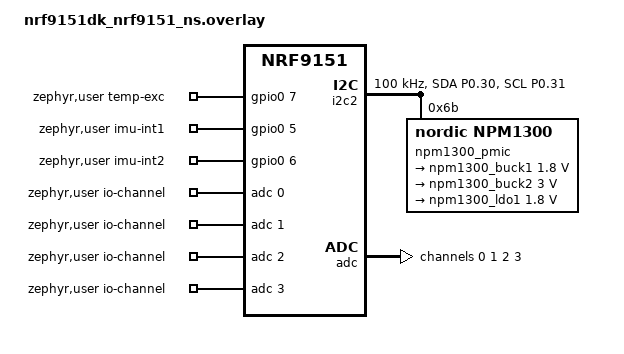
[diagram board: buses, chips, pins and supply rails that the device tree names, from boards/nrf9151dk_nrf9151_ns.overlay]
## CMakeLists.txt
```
#
# Copyright (c) 2026 Cadenced
# SPDX-License-Identifier: LicenseRef-Nordic-5-Clause
#
cmake_minimum_required(VERSION 3.20.0)

find_package(Zephyr REQUIRED HINTS $ENV{ZEPHYR_BASE})
project(versor)

target_sources(app PRIVATE
	src/main.c
	src/imu.c
	src/temp.c
	src/cell.c
	src/gnss.c
	src/mqtt.c
	src/credentials.c
	src/modemdiag.c
	src/devcfg.c
	src/pmic.c
	src/telemetry.c
	src/shipment.c
)

# FOTA (self-hosted HTTP(S) update via MCUboot dual-slot). Only compiled when
# the fota_download pipeline is enabled (CONFIG_FOTA_DOWNLOAD in prj.conf +
# SB_CONFIG_BOOTLOADER_MCUBOOT in sysbuild.conf).
target_sources_ifdef(CONFIG_FOTA_DOWNLOAD app PRIVATE src/fota.c)

# A-GNSS assistance backend (nRF Cloud REST). Only compiled when enabled.
target_sources_ifdef(CONFIG_NRF_CLOUD_AGNSS app PRIVATE src/assistance.c)

# nRF Cloud device provisioning ("check-in") client. Only when enabled.
target_sources_ifdef(CONFIG_NRF_PROVISIONING app PRIVATE src/provision.c)

# Turn the broker CA (PEM) into a byte-array include for credentials.c,
# exactly like the production firmware does. Written to the build tree.
set(gen_dir ${CMAKE_CURRENT_BINARY_DIR}/certs)
generate_inc_file_for_target(app src/credentials/ca-cert.pem ${gen_dir}/ca-cert.pem)
target_include_directories(app PRIVATE ${gen_dir})
```

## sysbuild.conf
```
# Keep the debug port (APPROTECT) openable for RTT on the CU board.
#
# On the nRF9151 (/ns build with TF-M) APPROTECT is closed by hardware at every
# reset; only the FIRST-stage secure image can reopen it. By default sysbuild
# leaves this unconfigured (APPROTECT_NO_SYSBUILD), so nothing reopens the port
# and RTT/SWD is dead after boot. Enabling *_USE_UICR makes SystemInit() in ALL
# images honour UICR.APPROTECT: when it is HwUnprotected (0x50FA50FA, which
# `nrfutil device recover` writes) debug access stays open, so we can read the
# RTT console on the CU board (its only I/O besides SWD). This does not weaken a
# production part — there the UICR is left protected and the port stays closed.
SB_CONFIG_APPROTECT_USE_UICR=y
SB_CONFIG_SECURE_APPROTECT_USE_UICR=y

# --- FOTA foundation: build the MCUboot bootloader (dual-slot) ---------------
# This is the single most important prerequisite for over-the-air updates: it
# makes sysbuild build MCUboot ahead of the app and lay the internal 1 MB flash
# out as two application slots (primary = running app, secondary = staged
# update), plus produce the signed `app_update.bin` FOTA package next to the
# app. A unit flashed WITHOUT this can never be updated OTA — it must be baked
# into the very first production flash. The nRF9151 app is small (~30 % of a
# single slot), so both slots fit in internal flash and no external flash chip
# is needed.
SB_CONFIG_BOOTLOADER_MCUBOOT=y

# NOTE (production): the build is signed with Nordic's DEFAULT, PUBLIC MCUboot
# key, which is fine for bring-up/lab but MUST be replaced before shipping —
# otherwise anyone can sign an image the bootloader will accept. For the serie,
# generate a private key and point MCUboot at it here, e.g.:
#   SB_CONFIG_BOOT_SIGNATURE_TYPE_ED25519=y
#   SB_CONFIG_BOOT_SIGNATURE_KEY_FILE="/abs/path/to/cdc-inco-mcuboot-priv.pem"
# Keep that key OUT of git (like app_credentials.h) and back it up safely: lose
# it and you can no longer sign updates these units will accept.
```

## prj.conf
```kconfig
#
# CDC-INCO-Bringup-R1A — Inbetriebnahme-/Testfirmware fuer die R1A
# (CU-Platine + Power-Platine). Liefert alle Felder aus Testplan Kap. 3,
# Modi normal/live/drain, nPM1300 (Laden, Akku, LEDs).
# Konsole + Shell laufen ueber SEGGER RTT (die CU-Platine hat kein USB/UART-RX;
# RTT geht ueber die gleichen SWD-Leitungen wie das Flashen).
#

# --- Konsole & Shell nur ueber RTT ---
CONFIG_USE_SEGGER_RTT=y
CONFIG_RTT_CONSOLE=y
CONFIG_UART_CONSOLE=n
CONFIG_SERIAL=n
CONFIG_SHELL=y
CONFIG_SHELL_BACKEND_SERIAL=n
CONFIG_SHELL_BACKEND_RTT=y

# --- Logging: dedizierter RTT-Log-Backend (NICHT ueber die Shell) ---
CONFIG_LOG=y
# Immediate (synchronous) logging: writes each line to RTT in the caller's
# context. Dedicated RTT backend (LOG_BACKEND_RTT) writes straight to RTT
# up-channel 0 — independent of the shell. Routing logs through the shell
# (SHELL_LOG_BACKEND) does NOT emit until a terminal is "connected", so the
# RTT up-buffer stayed empty (WrOff=0) when read headless over SWD; disable it.
CONFIG_LOG_MODE_IMMEDIATE=y
CONFIG_LOG_BUFFER_SIZE=4096
CONFIG_LOG_BACKEND_RTT=y
CONFIG_LOG_BACKEND_RTT_MODE_DROP=y
# Shell keeps RTT up-channel 0; put the dedicated log backend on up-channel 1
# to avoid the "conflicting log RTT backend on the same channel" build error.
CONFIG_LOG_BACKEND_RTT_BUFFER=1
CONFIG_LOG_BACKEND_RTT_BUFFER_SIZE=4096
CONFIG_SHELL_LOG_BACKEND=n
# Keep the whole diagnostic history in the RTT up-buffer so a late reader still
# sees the SIM/registration/signal lines, not just the latest heartbeat.
CONFIG_SEGGER_RTT_BUFFER_SIZE_UP=8192

# --- Peripherie ---
CONFIG_I2C=y
CONFIG_ADC=y
CONFIG_GPIO=y

# --- nPM1300 PMIC (Power board): MFD + regulators + charger sensor + LEDs ---
# The drivers are pulled in by the npm1300 node in the board overlay. Without
# the Power board they fail their init quietly and pmic.c reports "absent".
CONFIG_SENSOR=y
CONFIG_REGULATOR=y
CONFIG_LED=y
# nRF Fuel Gauge: enable once a profiled model of the PL405070 exists as
# src/battery_model.inc (nPM PowerUP). Until then pmic.c estimates soc from OCV.
# CONFIG_NRF_FUEL_GAUGE=y
# CONFIG_NRF_FUEL_GAUGE_VARIANT_SECONDARY_CELL=y

# --- Watchdog + reset cause (rst field, Testplan A-3) ---
CONFIG_WATCHDOG=y
CONFIG_HWINFO=y

# --- Modem / LTE ---
CONFIG_NRF_MODEM_LIB=y
CONFIG_LTE_LINK_CONTROL=y
# PDN submodule is required for the default-APN override below to take effect.
CONFIG_LTE_LC_PDN_MODULE=y
CONFIG_LTE_LC_PDN_DEFAULTS_OVERRIDE=y
CONFIG_LTE_LC_PDN_DEFAULT_APN="wsim"
# LTE-M + GPS: ein RF-Frontend wird zwischen LTE und GNSS geteilt.
CONFIG_LTE_NETWORK_MODE_LTE_M_GPS=y
CONFIG_MODEM_INFO=y
CONFIG_MODEM_INFO_ADD_NETWORK=y
# PSM for the "normal" mode. Only REQUESTED at runtime (main.c apply_mode) and
# only together with connect -> send -> disconnect cycles: PSM on top of an
# always-on MQTT session breaks it (see deep-sleep-vs-mqtt). live/drain turn it off.
CONFIG_LTE_LC_PSM_MODULE=y
# Bound a blocking attach attempt (default 600 s). Without coverage the modem
# keeps searching in the background and main.c retries without blocking.
CONFIG_LTE_NETWORK_TIMEOUT=180
# Capture modem faults in an application-specific handler (modemdiag.c) so the
# diagnostic can record the fault reason + PC, instead of silently auto-resetting.
CONFIG_NRF_MODEM_LIB_ON_FAULT_APPLICATION_SPECIFIC=y

# --- Sockets (offloaded aufs Modem) fuer den Erreichbarkeitstest ---
CONFIG_NETWORKING=y
CONFIG_NET_SOCKETS=y
CONFIG_NET_SOCKETS_OFFLOAD=y
CONFIG_POSIX_API=y

# --- TLS/MQTT publish ('bu pub') zum HiveMQ-Broker ---
# TLS wird aufs Modem ausgelagert (kein mbedTLS im App-Image noetig). Die CA
# liegt auf BROKER_SEC_TAG (16842), provisioniert von credentials.c beim Boot.
CONFIG_MQTT_LIB=y
CONFIG_MQTT_LIB_TLS=y
CONFIG_MODEM_KEY_MGMT=y

# --- Netzwerkzeit (fuer JWT-Signatur + "ts" im JSON) ---
# date_time holt die Zeit automatisch vom Modem, sobald LTE attached ist. Ohne
# gueltige Zeit scheitert die JWT-Erzeugung fuer den A-GNSS-REST-Call (-62), und
# eine gueltige Zeit hilft GNSS enorm beim ersten Fix (kein Uhr-Cold-Start).
CONFIG_DATE_TIME=y

# --- A-GNSS Assistenz via nRF Cloud REST (Ephemeriden-Download = schneller Fix)
# Statt die Satelliten-Bahndaten mit 50 bit/s vom Satelliten zu dekodieren
# (Cold Start = Minuten, drinnen quasi unmoeglich), holt das Board sie per
# HTTPS-REST von nRF Cloud in Sekunden. Laeuft eigenstaendig, voellig unabhaengig
# von der HiveMQ-MQTT-Verbindung, und ist BEST-EFFORT: ist das Board noch nicht
# bei nRF Cloud onboarded, scheitert nur nrf_cloud_jwt_generate() (-77) und GNSS
# laeuft weiter (Priority-Mode + Netzwerkzeit). nRF Cloud nutzt einen EIGENEN
# Sec-Tag (16842753, NICHT den HiveMQ-Tag 16842) -> die HiveMQ-CA bleibt intakt.
CONFIG_NRF_CLOUD=y
CONFIG_NRF_CLOUD_REST=y
CONFIG_NRF_CLOUD_AGNSS=y
CONFIG_MODEM_JWT=y
# nRF-Cloud-Client-ID = Modem-UUID (nicht IMEI); so registriert der spaetere
# Provisioning-/Claim-Weg dasselbe Geraet, das der A-GNSS-Call anspricht.
CONFIG_NRF_CLOUD_CLIENT_ID_SRC_INTERNAL_UUID=y
# Attestation-Token beim Boot ausgeben (read-only, kein Key-Write): damit laesst
# sich das Board auf nrfcloud.com claimen -> danach liefert A-GNSS echte Daten.
CONFIG_MODEM_ATTEST_TOKEN=y
# nRF Cloud (cJSON) + REST-Puffer brauchen mehr Heap als der bisherige Default.
CONFIG_HEAP_MEM_POOL_SIZE=8192

# --- nRF Cloud Device Provisioning (On-Device "Check-in") ---
# Der On-Device-Client meldet sich beim nRF-Cloud-Provisioning-Service. Sobald
# das Board dort geclaimed ist (Attestation-Token aus dem Boot-Log), erzeugt +
# installiert der Service die nRF-Cloud-Credentials am Sec-Tag 16842753 -> die
# JWT-Erzeugung klappt und A-GNSS liefert echte Ephemeriden (kein -8/-77 mehr).
# Vor dem Schreiben der Credentials nimmt der Client LTE per Callback offline
# (sichere Reihenfolge -> kein Modem-Brick), danach Reboot. Wir starten den
# Client NICHT automatisch beim Init, sondern erst per Trigger, nachdem die
# MQTT-Session steht und die HiveMQ-CA offline geschrieben ist (kein Kollidieren
# der Key-Writes) — siehe provision.c / bringup_onboard_begin().
CONFIG_NRF_PROVISIONING=y
CONFIG_NRF_PROVISIONING_HTTP=y
CONFIG_NRF_PROVISIONING_AUTO_START_ON_INIT=n
CONFIG_NRF_PROVISIONING_WITH_CERT=y
CONFIG_NRF_PROVISIONING_ROOT_CA_SEC_TAG=50
CONFIG_NRF_PROVISIONING_PROVIDE_ATTESTATION_TOKEN=y
CONFIG_NRF_PROVISIONING_CODEC=y
CONFIG_NRF_PROVISIONING_CBOR=y
CONFIG_ZCBOR=y
CONFIG_ZCBOR_CANONICAL=y
CONFIG_NRF_PROVISIONING_CBOR_RECORDS=10
CONFIG_NRF_PROVISIONING_RX_BUF_SZ=2304
CONFIG_NRF_PROVISIONING_TX_BUF_SZ=2304
CONFIG_NRF_PROVISIONING_CODEC_AT_CMD_LEN=2048

# --- Settings/NVS (vom Provisioning-Client vorausgesetzt) ---
CONFIG_SETTINGS=y
CONFIG_NVS=y
CONFIG_FLASH=y
CONFIG_FLASH_MAP=y
CONFIG_FLASH_PAGE_LAYOUT=y
CONFIG_MPU_ALLOW_FLASH_WRITE=y

# --- Float-Ausgabe (g-Werte, °C, lat/lon) ---
CONFIG_PICOLIBC=y
CONFIG_PICOLIBC_IO_FLOAT=y
CONFIG_CBPRINTF_FP_SUPPORT=y

# --- FOTA: self-hosted HTTP(S) update over MCUboot dual-slot -----------------
# MCUboot itself is built by sysbuild (SB_CONFIG_BOOTLOADER_MCUBOOT=y in
# sysbuild.conf); these app-side options pull in the download + apply pipeline:
#   fota_download  -> streams app_update.bin over LTE-M into the secondary slot
#   dfu_target(_mcuboot) + img_manager -> write the slot, tag it valid, and let
#   the app confirm the running image (boot_write_img_confirmed) so a healthy
#   swap becomes permanent and a bad one rolls back automatically.
# HTTPS reuses the ISRG Root X1 CA already on BROKER_SEC_TAG (16842) — the NAS
# host uses the same Let's Encrypt chain, so no extra credential write is needed.
# The download is triggered either by `bu fota <url>` (RTT shell) or by an MQTT
# command over the existing HiveMQ link (see mqtt.c handle_command()).
CONFIG_BOOTLOADER_MCUBOOT=y
CONFIG_FOTA_DOWNLOAD=y
CONFIG_DFU_TARGET=y
CONFIG_DFU_TARGET_MCUBOOT=y
CONFIG_DOWNLOADER=y
CONFIG_IMG_MANAGER=y
CONFIG_IMG_ERASE_PROGRESSIVELY=y
CONFIG_MCUBOOT_IMG_MANAGER=y
CONFIG_STREAM_FLASH=y
# Emit a progress event per received fragment so the RTT log shows % during a
# download (helpful while validating on the bench; harmless in the field).
CONFIG_FOTA_DOWNLOAD_PROGRESS_EVT=y

# --- System ---
CONFIG_ASSERT=y
CONFIG_REBOOT=y
# main() builds float-heavy JSON (lat/lon/temps) and drives the modem session.
CONFIG_MAIN_STACK_SIZE=8192
CONFIG_SHELL_STACK_SIZE=4096
```

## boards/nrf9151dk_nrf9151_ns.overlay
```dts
/*
 * CDC-INCO-Prototyp-R1A (CU board) pin map, applied on top of the nRF9151-DK
 * build. We build for the DK target because the SiP (flash/RAM/partitions) is
 * identical; this overlay re-describes the peripherals to match the CU board so
 * the DK on-board J-Link can flash the external CU board via DEBUG OUT -> J600.
 *
 * Pin map is taken from the FINAL ordered schematic (shematic-R1A-ordered.pdf,
 * Controller/Sensors sheets) and the ODB++ netlist (Testplan v2.0).
 *
 *   I2C (TWIM2)  SDA = P0.30, SCL = P0.31   (nPM1300 @0x6B + BMI323 @0x68)
 *   IMU BMI323   INT1 = P0.05, INT2 = P0.06
 *   Pt1000 temps excitation drive = P0.07 (V_TEMP rail high = 1.8 V)
 *                V_TEMP sense = AIN3/P0.16, T1..T3 = AIN0..AIN2 / P0.13..P0.15
 */

#include <zephyr/dt-bindings/adc/adc.h>
#include <zephyr/dt-bindings/adc/nrf-saadc.h>
#include <zephyr/dt-bindings/gpio/gpio.h>
#include <zephyr/dt-bindings/i2c/i2c.h>
#include <dt-bindings/regulator/npm13xx.h>

/ {
	/* Handles the bring-up firmware pulls out of the devicetree. */
	zephyr,user {
		/* 4 SAADC channels: idx0=T1, idx1=T2, idx2=T3, idx3=V_TEMP top */
		io-channels = <&adc 0>, <&adc 1>, <&adc 2>, <&adc 3>;
		/* GPIO that drives the top of the Pt1000 dividers high during a read */
		temp-exc-gpios = <&gpio0 7 GPIO_ACTIVE_HIGH>;
		/* BMI323 interrupt lines (input, pulled low so an idle line reads 0) */
		imu-int1-gpios = <&gpio0 5 (GPIO_ACTIVE_HIGH | GPIO_PULL_DOWN)>;
		imu-int2-gpios = <&gpio0 6 (GPIO_ACTIVE_HIGH | GPIO_PULL_DOWN)>;
	};
};

&pinctrl {
	i2c2_default_alt: i2c2_default_alt {
		group1 {
			psels = <NRF_PSEL(TWIM_SDA, 0, 30)>,
				<NRF_PSEL(TWIM_SCL, 0, 31)>;
		};
	};

	i2c2_sleep_alt: i2c2_sleep_alt {
		group1 {
			psels = <NRF_PSEL(TWIM_SDA, 0, 30)>,
				<NRF_PSEL(TWIM_SCL, 0, 31)>;
			low-power-enable;
		};
	};
};

/* Re-point TWIM2 to the CU-board I2C pins. */
&i2c2 {
	status = "okay";
	compatible = "nordic,nrf-twim";
	pinctrl-0 = <&i2c2_default_alt>;
	pinctrl-1 = <&i2c2_sleep_alt>;
	pinctrl-names = "default", "sleep";
	/* 100 kHz for bring-up robustness; bump to _FAST (400k) once verified. */
	clock-frequency = <I2C_BITRATE_STANDARD>;
	zephyr,concat-buf-size = <256>;

	/* nPM1300 on the Power board (U500), same bus as the BMI323. Wiring from
	 * shematic-R1A-ordered.pdf, Power sheet:
	 *   BUCK1 = VDD_1V8 (VSET1 47k -> 1.8 V, set by resistor, "always 1V8")
	 *   BUCK2 = VDD_3V0 (VSET2 150k -> 3.0 V, set by resistor)
	 *   LDO1  = VDD_GNSS: LSIN1 <- VDD_3V0, VOUTLDO1 -> R507 0R -> VDD_GNSS
	 *           (R506/R508 not fitted) -> must be switched on as a 1.8 V LDO
	 *   LDO2  = unused (LSIN2/VOUTLDO2 tied to GND) -> never touch
	 *   LED0 = LED501 red, LED1 = LED500 green, LED2 = D500 blue (all to VSYS,
	 *          5 mA internal sink)
	 *   NTC  = battery connector P500 pin 2 (P500: 1 = +, 2 = NTC, 3 = -)
	 *   GPIO0-4 -> nRF P0.00-P0.04 (not used yet), SHPHLD unconnected
	 * If the Power board is not attached the MFD init fails and all children
	 * stay "not ready" — the firmware checks device_is_ready() and runs on.
	 */
	npm1300_pmic: pmic@6b {
		compatible = "nordic,npm1300";
		reg = <0x6b>;

		npm1300_regulators: regulators {
			compatible = "nordic,npm1300-regulator";

			/* BUCK1/BUCK2 voltages come from the VSET resistors. Deliberately
			 * NO regulator-init-microvolt here: software must never be able
			 * to move VDD_1V8 (VDD_GPIO, sensors, SWD VTref) or VDD_3V0.
			 */
			npm1300_buck1: BUCK1 {
				regulator-min-microvolt = <1800000>;
				regulator-max-microvolt = <1800000>;
				regulator-always-on;
			};

			npm1300_buck2: BUCK2 {
				regulator-min-microvolt = <3000000>;
				regulator-max-microvolt = <3000000>;
				regulator-always-on;
			};

			/* VDD_GNSS (external LNA SKY65943) = 1.8 V LDO from VDD_3V0. */
			npm1300_ldo1: LDO1 {
				regulator-min-microvolt = <1800000>;
				regulator-max-microvolt = <1800000>;
				regulator-init-microvolt = <1800000>;
				regulator-initial-mode = <NPM13XX_LDSW_MODE_LDO>;
				regulator-boot-on;
			};
		};

		/* Battery: XINJ PL405070, 3.7 V 3000 mAh LiPo, 3-wire with NTC.
		 * Datasheet (eBay listing): standard charge 0.5 C CC to 4.2 V, CV until
		 * 0.05 C; built-in protection PCB. The nPM1300 caps charge current at
		 * 800 mA (~0.27 C), well inside the cell rating.
		 *
		 * Charge temperature window (JOB 2026-09-29), enforced in HARDWARE by the
		 * nPM1300 JEITA logic via the battery NTC:
		 *   < 0 C        cold  -> no charging
		 *   0 .. 10 C    cool  -> charge current halved by hardware (400 mA)
		 *   10 .. 35 C   normal-> full 800 mA
		 *   35 .. 45 C   warm  -> termination 4.10 V (hardware); the firmware
		 *                         additionally halves the current (pmic.c)
		 *   > 45 C       hot   -> no charging
		 *
		 * NTC type is NOT given by the seller. 10 k / B 3435 is the usual part in
		 * these cells — CHECK with a multimeter between the white wire and minus:
		 * ~10 kOhm at 25 C. If it reads ~47 k or ~100 k, change thermistor-ohms.
		 */
		npm1300_charger: charger {
			compatible = "nordic,npm1300-charger";
			term-microvolt = <4200000>;
			term-warm-microvolt = <4100000>;
			current-microamp = <800000>;
			dischg-limit-microamp = <1000000>;
			/* BQ51013B Qi receiver delivers ~5 V / 1 A into VBUS. */
			vbus-limit-microamp = <1000000>;
			thermistor-ohms = <10000>;
			thermistor-beta = <3435>;
			thermistor-cold-millidegrees = <0>;
			thermistor-cool-millidegrees = <10000>;
			thermistor-warm-millidegrees = <35000>;
			thermistor-hot-millidegrees = <45000>;
			charging-enable;
		};

		/* All three LEDs under firmware control (modes, drain, charge hint). */
		npm1300_leds: leds {
			compatible = "nordic,npm1300-led";
			nordic,led0-mode = "host";
			nordic,led1-mode = "host";
			nordic,led2-mode = "host";
		};
	};
};

/* SAADC: internal 0.6 V reference, 12-bit, 40 us acquisition (500 ohm source +
 * 100 nF settle comfortably). GAIN differs by channel on purpose:
 *   - Pt1000 nodes AIN0..AIN2 sit at ~0.9-1.1 V over the whole plausible temp
 *     range, so gain 1/2 (full-scale 1.2 V) is used -> the ADC code is worth
 *     ~0.18 C instead of ~0.37 C, doubling temperature resolution. Even +180 C
 *     stays under 1.2 V, so there is no clipping headroom concern.
 *   - AIN3 senses the ~1.8 V V_TEMP excitation top, which does NOT fit in 1.2 V,
 *     so it keeps gain 1/4 (full-scale 2.4 V). The ratiometric math uses mV from
 *     each channel's own gain, so mixing gains is correct.
 */
&adc {
	status = "okay";
	#address-cells = <1>;
	#size-cells = <0>;

	channel@0 {
		reg = <0>;
		zephyr,gain = "ADC_GAIN_1_2";
		zephyr,reference = "ADC_REF_INTERNAL";
		zephyr,acquisition-time = <ADC_ACQ_TIME(ADC_ACQ_TIME_MICROSECONDS, 40)>;
		zephyr,input-positive = <NRF_SAADC_AIN0>; /* P0.13 = T1 (COW) */
		zephyr,resolution = <12>;
	};

	channel@1 {
		reg = <1>;
		zephyr,gain = "ADC_GAIN_1_2";
		zephyr,reference = "ADC_REF_INTERNAL";
		zephyr,acquisition-time = <ADC_ACQ_TIME(ADC_ACQ_TIME_MICROSECONDS, 40)>;
		zephyr,input-positive = <NRF_SAADC_AIN1>; /* P0.14 = T2 (AMBIENT) */
		zephyr,resolution = <12>;
	};

	channel@2 {
		reg = <2>;
		zephyr,gain = "ADC_GAIN_1_2";
		zephyr,reference = "ADC_REF_INTERNAL";
		zephyr,acquisition-time = <ADC_ACQ_TIME(ADC_ACQ_TIME_MICROSECONDS, 40)>;
		zephyr,input-positive = <NRF_SAADC_AIN2>; /* P0.15 = T3 (AMBIENT_SUN) */
		zephyr,resolution = <12>;
	};

	channel@3 {
		reg = <3>;
		zephyr,gain = "ADC_GAIN_1_4";
		zephyr,reference = "ADC_REF_INTERNAL";
		zephyr,acquisition-time = <ADC_ACQ_TIME(ADC_ACQ_TIME_MICROSECONDS, 40)>;
		zephyr,input-positive = <NRF_SAADC_AIN3>; /* P0.16 = V_TEMP excitation sense */
		zephyr,resolution = <12>;
	};
};
```

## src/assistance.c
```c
/*
 * Copyright (c) 2021 Nordic Semiconductor ASA
 * Copyright (c) 2024 Cadenced
 * SPDX-License-Identifier: LicenseRef-Nordic-5-Clause
 *
 * nRF Cloud A-GNSS assistance over REST. Adapted from the NCS GNSS sample and
 * the production firmware (CDC-INCO-Thingy9151-R1A). One-shot HTTPS request to
 * nRF Cloud, authenticated with a device JWT; the received A-GNSS data
 * (ephemerides, time, coarse position) is injected into the modem so the GNSS
 * core gets a fix in seconds instead of minutes. Independent of the app's own
 * HiveMQ MQTT connection.
 */
#include <stdlib.h>
#include <zephyr/kernel.h>
#include <zephyr/logging/log.h>
#include <modem/lte_lc.h>
#include <modem/modem_info.h>
#include <modem/modem_jwt.h>
#include <net/nrf_cloud_rest.h>
#include <net/nrf_cloud_agnss.h>

#include "assistance.h"

LOG_MODULE_DECLARE(gnss, LOG_LEVEL_INF);

static char jwt_buf[600];
static char rx_buf[2048];
static char agnss_data_buf[NRF_CLOUD_AGNSS_MAX_DATA_SIZE];

static int serving_cell_info_get(struct lte_lc_cell *serving_cell)
{
	int err;
	char resp_buf[MODEM_INFO_MAX_RESPONSE_SIZE];

	err = modem_info_init();
	if (err) {
		return err;
	}

	err = modem_info_string_get(MODEM_INFO_CELLID, resp_buf, sizeof(resp_buf));
	if (err < 0) {
		return err;
	}
	serving_cell->id = strtol(resp_buf, NULL, 16);

	err = modem_info_string_get(MODEM_INFO_AREA_CODE, resp_buf, sizeof(resp_buf));
	if (err < 0) {
		return err;
	}
	serving_cell->tac = strtol(resp_buf, NULL, 16);

	err = modem_info_string_get(MODEM_INFO_OPERATOR, resp_buf, sizeof(resp_buf));
	if (err < 0) {
		return err;
	}
	serving_cell->mnc = strtol(&resp_buf[3], NULL, 10);
	resp_buf[3] = '\0';
	serving_cell->mcc = strtol(resp_buf, NULL, 10);

	return 0;
}

int assistance_init(struct k_work_q *assistance_work_q)
{
	ARG_UNUSED(assistance_work_q);
	/* A-GNSS over REST needs no persistent state. */
	return 0;
}

int assistance_request(struct nrf_modem_gnss_agnss_data_frame *agnss_request)
{
	int err;

	err = nrf_cloud_jwt_generate(0, jwt_buf, sizeof(jwt_buf));
	if (err) {
		LOG_ERR("JWT generate failed: %d (device not onboarded to nRF Cloud?)",
			err);
		return err;
	}

	struct nrf_cloud_rest_context rest_ctx = {
		.connect_socket = -1,
		.keep_alive = false,
		/* MUST be bounded: A-GNSS is best-effort and must never block GNSS.
		 * With NONE, a stalled TLS/connect to nRF Cloud hangs forever, so
		 * agnss_fetch_done never gets set and GNSS priority mode is never
		 * enabled → the receiver is starved by LTE and tracks 0 satellites
		 * (observed 2026-09-17 on the first onboarded boot). 30 s cap → the
		 * call errors out, GNSS falls back to a standalone (slower) fix.
		 */
		.timeout_ms = 30000,
		.auth = jwt_buf,
		.rx_buf = rx_buf,
		.rx_buf_len = sizeof(rx_buf),
		.fragment_size = 0,
	};

	struct nrf_cloud_rest_agnss_request request = {
		.type = NRF_CLOUD_REST_AGNSS_REQ_CUSTOM,
		.agnss_req = agnss_request,
		.net_info = NULL,
	};

	struct nrf_cloud_rest_agnss_result result = {
		.buf = agnss_data_buf,
		.buf_sz = sizeof(agnss_data_buf),
		.agnss_sz = 0,
	};

	struct lte_lc_cells_info net_info = { 0 };

	if (serving_cell_info_get(&net_info.current_cell) == 0) {
		request.net_info = &net_info;
	} else {
		LOG_WRN("No cell info — requesting A-GNSS without it");
	}

	LOG_INF("Requesting A-GNSS data (flags 0x%02x)", agnss_request->data_flags);

	err = nrf_cloud_rest_agnss_data_get(&rest_ctx, &request, &result);
	if (err) {
		LOG_ERR("nrf_cloud_rest_agnss_data_get failed: %d", err);
		return err;
	}

	LOG_INF("Processing %d bytes of A-GNSS data", result.agnss_sz);

	err = nrf_cloud_agnss_process(result.buf, result.agnss_sz);
	if (err) {
		LOG_ERR("nrf_cloud_agnss_process failed: %d", err);
		return err;
	}

	LOG_INF("A-GNSS data processed and injected");
	return 0;
}
```

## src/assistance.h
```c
/*
 * Copyright (c) 2024 Cadenced
 * SPDX-License-Identifier: LicenseRef-Nordic-5-Clause
 */
#ifndef CDC_INCO_ASSISTANCE_H_
#define CDC_INCO_ASSISTANCE_H_

#include <nrf_modem_gnss.h>

/* Initialise the assistance backend. Call once before assistance_request(). */
int assistance_init(struct k_work_q *assistance_work_q);

/* Fetch A-GNSS assistance for the satellites the modem asked for and inject it
 * into the GNSS core. Runs a one-shot HTTPS REST request to nRF Cloud,
 * authenticated with the device JWT. Requires an active LTE connection + valid
 * network time. Returns 0 on success.
 */
int assistance_request(struct nrf_modem_gnss_agnss_data_frame *agnss_request);

#endif /* CDC_INCO_ASSISTANCE_H_ */
```

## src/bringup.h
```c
/*
 * Copyright (c) 2026 Cadenced
 * SPDX-License-Identifier: LicenseRef-Nordic-5-Clause
 *
 * Shared entry points for the CU-board bring-up tests. Each test is a plain,
 * blocking function that prints its result via the log/shell and returns 0 on
 * pass, negative on fail, so it can be driven both by the boot-time POST and by
 * an interactive "bu <test>" shell command.
 */
#ifndef CDC_INCO_BRINGUP_H_
#define CDC_INCO_BRINGUP_H_

#include "shipment.h"
#include <stdbool.h>
#include <stddef.h>
#include <stdint.h>
#include <zephyr/sys/util.h>

/* HiveMQ broker TLS security tag (CA provisioned by credentials.c).
 * Matches the DK / production firmware (CONFIG_MQTT_HELPER_SEC_TAG).
 */
#define BROKER_SEC_TAG 16842

/* Application firmware version, reported in the telemetry JSON as "fw" so the
 * dashboard can show which unit runs which build and confirm a FOTA rollout.
 * BUMP THIS every time you build an image you intend to roll out.
 */
#define APP_FW_VERSION "0.1.0"

/* TLS security tag used for the FOTA HTTPS download. By default it reuses the
 * broker's CA (BROKER_SEC_TAG = ISRG Root X1 / Let's Encrypt), which is correct
 * when the firmware file is served from a host with a Let's Encrypt certificate
 * (e.g. Synology Web Station, or Hetzner with certbot).
 *
 * If the FOTA host presents a DIFFERENT chain — most notably a Cloudflare-fronted
 * URL through the cloudflared tunnel, where Cloudflare's edge terminates TLS —
 * point this at a dedicated tag and provision that host's root CA there:
 *   1) find the root:  openssl s_client -connect fw.cadenced.at:443 -showcerts
 *   2) put its PEM in  src/credentials/fota-ca.pem  and enable the block in
 *      credentials.c (FOTA_DEDICATED_CA) so it is written to FOTA_SEC_TAG offline
 *   3) set this to that tag, e.g. 16843.
 * Keeping it separate from BROKER_SEC_TAG means swapping the FOTA host's CA never
 * touches the working HiveMQ CA.
 */
#ifndef FOTA_SEC_TAG
#define FOTA_SEC_TAG BROKER_SEC_TAG
#endif

/* ---- I2C bus / BMI323 IMU (P0.30 SDA, P0.31 SCL, addr 0x68) ------------- */
int bringup_i2c_scan(void);       /* scan the bus, list responders          */
int bringup_imu_id(void);         /* probe BMI323 CHIP_ID (expect 0x43)      */
int bringup_imu_init(void);       /* soft-reset + normal mode, +/-4 g, 100 Hz*/
int bringup_imu_read(void);       /* one accel sample -> g on x/y/z          */
int bringup_imu_int_test(void);   /* DRDY on INT1 (P0.05): count edges/1 s   */
/* One quiet accel sample in g (no logging), for the telemetry averaging loop.
 * Any out pointer may be NULL. Returns 0 on success, negative on I2C error.
 */
int bringup_imu_read_accel(float *gx, float *gy, float *gz);
/* 100 Hz, +/-16 g accel FIFO for the shipment events (shipment.c). */
int  bringup_imu_fifo_start(void);
bool bringup_imu_fifo_on(void);
int  bringup_imu_fifo_read(float *xyz, int max_frames); /* frames (x,y,z g) or <0 */

/* ---- 3x Pt1000 temperature via SAADC (drive P0.07, read AIN0..3) -------- */
int bringup_temp_read(void);      /* one ratiometric read of T1/T2/T3        */
/* High-resolution ratiometric read of temp_in only (IC201 = T2 = AIN1), vs the
 * V_TEMP excitation sense (AIN3). 256x SAADC oversampling + offset calibration,
 * excitation pulsed just for the read. Returns true and *temp_c on success,
 * false if the excitation/divider is out of range (e.g. Pt1000 not fitted).
 */
bool bringup_temp_in_read(double *temp_c);

/* Pt1000 channel indices (schematic net names, Sensors sheet). */
enum pt_chan {
	PT_SKIN = 0, /* IC200 / T1 / AIN0 — COW (skin side)      */
	PT_AMB  = 1, /* IC201 / T2 / AIN1 — AMBIENT (shade)      */
	PT_SUN  = 2, /* IC202 / T3 / AIN2 — AMBIENT_SUN (plate)  */
	PT_COUNT = 3,
};
/* Versor: product temperature = T1/AIN0 (metal-coupled side, faces the goods). */
#define PT_PROD PT_SKIN
/* High-res ratiometric read of all three Pt1000 under ONE excitation pulse
 * (same method as bringup_temp_in_read). valid[i] is false for an open /
 * unfitted / out-of-band channel; temp_c[i] is then untouched.
 */
void bringup_temp_read_all(double temp_c[PT_COUNT], bool valid[PT_COUNT]);

/* ---- Cellular: LTE attach + modem info + broker reachability ------------ */
int bringup_modem_init(void);     /* init nrf_modem_lib + modem_info (once)  */
extern int bringup_modem_init_raw; /* raw nrf_modem_lib_init() return code   */
int bringup_cell_info(void);      /* IMEI, modem temp/voltage (no LTE needed)*/
int bringup_cell_attach(void);    /* attach LTE-M, print operator + RSRP     */
int bringup_cell_reach(void);     /* DNS + TCP-connect to the HiveMQ broker  */
int bringup_cell_lte_off(void);   /* CFUN=20: LTE off, GNSS keeps the antenna */

/* Serving-cell snapshot for the telemetry (AT%XMONITOR + AT+CESQ). */
struct cell_status {
	bool valid;       /* registered and the values below are filled */
	int16_t rsrp;     /* dBm                                        */
	float rsrq;       /* dB  (NAN if unknown)                       */
	float snr;        /* dB  (NAN if unknown)                       */
	uint32_t cell_id; /* E-UTRAN cell id                            */
	uint32_t tac;     /* tracking area code                         */
	uint16_t band;
	char plmn[8];     /* MCC+MNC                                    */
};
/* Read the serving-cell values now. Works in RRC-connected and idle; in PSM the
 * modem returns the last values it measured. Returns 0 if registered.
 */
int bringup_cell_monitor(struct cell_status *cs);
/* Request (enable=true) or cancel LTE Power Saving Mode. rptau_s = requested
 * periodic TAU, rat_s = requested active time. Only re-sent when changed.
 */
int bringup_cell_psm(bool enable, int rptau_s, int rat_s);
/* True if registered (home or roaming) — also true while in PSM. */
bool bringup_cell_registered(void);
/* After a failed attach: leave the radio on so the modem searches on its own. */
void bringup_cell_keep_searching(void);
/* IMEI as a string ("" if the modem could not be read). */
const char *bringup_cell_imei(void);

/* ---- Onboarding: nRF Cloud attestation token (read-only, no key write) --- */
void bringup_print_attest_token(void); /* log ATTESTTOKEN to claim on nrfcloud.com */

/* ---- Onboarding: nRF Cloud device provisioning ("check-in") ------------- */
/* Trigger a one-shot provisioning check with nRF Cloud. Call ONCE the MQTT
 * session is up (so the HiveMQ CA write is done and datetime is valid). If the
 * board is claimed, the service installs nRF Cloud credentials (sec tag
 * 16842753) — the client takes LTE offline for the write, then reboots. If not
 * claimed, it logs the attestation token again. Requires nrf_provisioning built.
 */
void bringup_onboard_begin(void);
/* True while provisioning holds the modem offline for a credential write, so
 * the telemetry loop backs off instead of fighting it for LTE.
 */
bool bringup_onboard_active(void);

/* ---- TLS/MQTT publish (full data path to the NAS/website) --------------- */
int bringup_credentials_provision(void); /* raw CA write to BROKER_SEC_TAG (assumes offline modem) */
int bringup_provision_ca(void);   /* init + offline + write CA (safe, once)  */
int bringup_mqtt_pub(const char *payload); /* one-shot: provision+connect+publish+close; NULL=default JSON */

/* ---- Persistent MQTT session (DK-style: connect once, publish periodically) */
int  bringup_mqtt_session_start(void);            /* provision CA + attach + TLS connect + CONNACK */
int  bringup_mqtt_session_publish(const char *payload); /* publish one QoS1 payload, pump for PUBACK */
int  bringup_mqtt_session_publish_raw(const char *payload); /* same on versor/evt/<id> */
int  bringup_mqtt_session_poll(int timeout_ms);   /* pump input/keepalive while idle */
void bringup_mqtt_session_stop(void);             /* graceful MQTT disconnect         */

/* True while the session is connected. */
bool bringup_mqtt_session_is_up(void);

/* ---- Cellular-only diagnostic (SIM/reg/signal), stays awake for RTT ------ */
void bringup_modem_diag(void);    /* one-shot cell diag, then busy-hold       */

/* ---- GNSS --------------------------------------------------------------- */
int bringup_gnss_start(void);     /* enable GNSS + start acquisition         */
int bringup_gnss_stop(void);
int bringup_gnss_status(void);    /* print sat count / last fix              */

/* Release the GNSS acquisition thread. Called once the first ("online") MQTT
 * message is out, so GNSS gets priority AFTER LTE has done its initial work
 * (matches the DK order: 1) first message, 2) GPS with priority).
 */
void bringup_gnss_begin(void);

/* True once the one-shot A-GNSS assistance fetch has finished (success or error).
 * main() waits on this (bounded) before it takes LTE offline for the exclusive
 * GPS window, so the ephemeris download — which needs LTE — runs first.
 */
bool bringup_gnss_agnss_done(void);

/* Snapshot the latest GNSS state for the telemetry JSON (thread-safe). Any
 * out pointer may be NULL. Returns true if a valid fix has been seen.
 */
bool bringup_gnss_get(double *lat, double *lon, int *sats, bool *fix_valid,
		      float *accuracy, float *speed_kmh);

/* Extra GNSS quality values for the test protocol. cn0 = mean C/N0 of the 4
 * strongest satellites of the latest PVT that tracked >= 4 (dB-Hz, NAN if none
 * yet); ttff_s = time to fix of the latest acquisition (-1 if none yet);
 * fix_age_s = seconds since the last valid fix (-1 if never).
 */
void bringup_gnss_quality(float *cn0, int *ttff_s, int *fix_age_s);

/* Set the GNSS fix interval: 0 = GNSS off, 1 = continuous tracking, >= 10 =
 * periodic fix every N s (the receiver sleeps in between). Applied by the GNSS
 * thread; the first fix after start is always searched continuously.
 */
void bringup_gnss_set_interval(uint32_t interval_s);
/* 32-bit uptime (ms) of the GNSS thread's last loop pass, 0 before it started
 * — watchdog liveness check.
 */
uint32_t bringup_gnss_last_alive_ms(void);

/* ---- nPM1300 probe (Energy board, absent until PMIC arrives) ------------ */
int bringup_pmic_id(void);        /* probe 0x6B; used to detect PMIC present */

/* ---- FOTA (self-hosted HTTP(S) update via MCUboot dual-slot) ------------ */
/* Init the fota_download library + log the MCUboot swap/confirm state. Safe to
 * call once at boot; bringup_fota_start_url() also lazily inits.
 */
int  bringup_fota_init(void);
/* Start downloading "http(s)://host[:port]/path/app_update.bin" into the
 * secondary slot. https reuses the ISRG Root X1 CA on BROKER_SEC_TAG. Async:
 * progress/finish/error arrive as log lines + a queued status (see below).
 * Returns 0 if the download started, negative on bad URL / already running.
 */
int  bringup_fota_start_url(const char *url);
/* Mark the running image permanent (boot_write_img_confirmed) once it is proven
 * healthy, so MCUboot does not roll a freshly swapped FOTA image back. No-op if
 * already confirmed (e.g. a normal JLink flash). Call after a successful publish.
 */
int  bringup_fota_confirm(void);
/* True while a download is in flight (main() backs off / ignores re-triggers). */
bool bringup_fota_busy(void);
/* True once an image is staged and main() should publish a final line + reboot
 * so MCUboot can swap. Kept off the download thread on purpose.
 */
bool bringup_fota_reboot_requested(void);
/* Pop a queued FOTA status word (started/downloaded/error/...) for the main
 * thread to publish over MQTT. Returns true and fills out if one was queued.
 */
bool bringup_fota_dequeue_status(char *out, size_t n);

/* ---- Tiny flat-JSON helpers (no nesting / escapes; enough for commands) -- */
bool json_get_str(const char *json, const char *key, char *out, size_t n);
bool json_get_int(const char *json, const char *key, int32_t *out);

/* ---- Persistent device config + operating modes (devcfg.c) -------------- */
/*
 *  normal : energy saving. Every interval_s: connect, send, check for
 *           commands (~4 s), disconnect, LTE PSM until the next cycle.
 *           Commands therefore arrive with at most interval_s delay.
 *  live   : always-on MQTT (commands instantly), for bench tests (A-5, C-1).
 *  drain  : burn the battery as fast as possible (D-4): always-on MQTT,
 *           short interval, GNSS continuous, all 3 LEDs on. Runs until the
 *           battery is empty and stays selected across resets.
 */
enum app_mode {
	APP_MODE_NORMAL = 0,
	APP_MODE_LIVE   = 1,
	APP_MODE_DRAIN  = 2,
};

struct app_cfg {
	enum app_mode mode;
	uint32_t interval_s; /* telemetry period                          */
	uint32_t gnss_s;     /* 0 = off, 1 = continuous, >= 10 = periodic  */
	uint8_t led;         /* requested LED (normal / live): colour      *
			      * 0 off, 1 green, 2 blue, 3 red, | LED_CFG_BLINK */
};

int  devcfg_init(void);                 /* load settings, count the boot       */
void devcfg_get(struct app_cfg *out);
/* Monotonic counter, bumped on every config change (main() watches it). */
uint32_t devcfg_generation(void);
/* Apply a config JSON {"mode":"normal","int":300,"gnss":300,"led":0}. Missing
 * keys keep their value, except that a mode change resets int/gnss to that
 * mode's defaults unless they are given too. Persists. True if changed.
 */
bool devcfg_apply_json(const char *json);
int  devcfg_set_mode(enum app_mode m);
const char *devcfg_mode_name(enum app_mode m);
bool devcfg_mode_from_name(const char *name, enum app_mode *out);

/* Device ID = serial number (e.g. "P0.1.1"). Sources, first match wins:
 *   1. override in settings: `bu id P0.1.2` (RTT) / {"cmd":"id",...} (MQTT)
 *   2. factory ID in the last flash page, written by the flash station together
 *      with the firmware (see FACTORY_ID_ADDR in devcfg.c)
 *   3. "IMEI<imei>" — only on lab boards flashed without the Cockpit; such IDs
 *      are never assigned to a customer.
 */
const char *devcfg_device_id(void);
int  devcfg_set_device_id(const char *id);
/* Publish ID + IMEI + FW in a RAM block the flash station reads over SWD
 * (halted core) right after flashing. Call once the modem is initialised.
 */
void devcfg_factory_info_update(void);

uint32_t devcfg_next_seq(void);         /* telemetry sequence, survives resets */
uint32_t devcfg_boot_count(void);
uint32_t devcfg_reset_cause(void);      /* hwinfo RESET_* bits of this boot    */
const char *devcfg_reset_name(void);    /* short name: por/pin/sw/wdt/bor/...  */

/* ---- nPM1300 PMIC: charger, fuel gauge, LEDs (pmic.c) ------------------- */
#define LED_RED   BIT(0) /* nPM LED0 -> LED501 */
#define LED_GREEN BIT(1) /* nPM LED1 -> LED500 */
#define LED_BLUE  BIT(2) /* nPM LED2 -> D500   */

/* app_cfg.led / cfg JSON "led": colour the backend asked for (1 = green is
 * also the old "on", so older backends keep working).
 */
#define LED_CFG_OFF   0
#define LED_CFG_GREEN 1
#define LED_CFG_BLUE  2
#define LED_CFG_RED   3
#define LED_CFG_COLOUR(v) ((v) & 0x03)
#define LED_CFG_BLINK 0x04   /* flag: the device blinks the colour itself */
#define LED_CFG_MAX   (LED_CFG_RED | LED_CFG_BLINK)
/* Telemetry "led": LED_RED|LED_GREEN|LED_BLUE as lit + this bit while blinking */
#define LED_TEL_BLINK BIT(3)

struct pmic_status {
	bool present;      /* PMIC answered; all values below valid          */
	float vbat;        /* V                                              */
	float ibat_ma;     /* mA, + = charging, - = discharging              */
	float t_bat;       /* C, battery NTC                                 */
	float t_die;       /* C, nPM1300 die temperature                     */
	float soc;         /* %, 0..100                                      */
	int chg;           /* 0 = not charging, 1 = charging, 2 = full        */
	uint8_t chg_raw;   /* BCHGCHARGESTATUS                               */
	uint8_t chg_err;   /* BCHGERRREASON                                  */
	bool vbus;         /* Qi / USB supply present                        */
	bool reduced;      /* firmware reduced the charge current (warm)     */
};

int  pmic_init(void);                   /* 0 if the PMIC is present            */
bool pmic_present(void);
/* Measure, run the charge-temperature supervision and the SoC estimate. Call
 * regularly (every few seconds); cheap. s may be NULL.
 */
int  pmic_update(struct pmic_status *s);
void pmic_get(struct pmic_status *s);   /* last values, no I2C traffic         */
void pmic_leds(uint8_t mask);           /* LED_RED | LED_GREEN | LED_BLUE      */
uint8_t pmic_leds_get(void);
int  pmic_ship_mode(void);              /* power off; only Qi/VBUS wakes it    */

/* ---- Telemetry records + RAM backlog (telemetry.c) ---------------------- */
struct tel_rec {
	int64_t ts_ms;        /* unix ms, 0 = network time not known yet  */
	uint32_t seq;
	uint32_t uptime_s;
	uint8_t mode;
	uint32_t interval_s;
	/* GNSS */
	double lat, lon;
	int16_t sats;
	bool fix;
	float hacc, speed, cn0;
	int32_t ttff_s, fix_age_s;
	/* IMU, mean over the window, m/s^2; act = mean |a - mean| (activity) */
	float acc_x, acc_y, acc_z, act;
	/* Versor shipment window (shipment.c); shp.valid false -> not sent */
	struct shp_win shp;
	bool trip, trip_ok;   /* trip running / no violation so far        */
	uint32_t trip_s;      /* trip duration s                           */
	/* temperatures, C (NAN = invalid): t_in = product (PT_PROD), t_amb =
	 * T2, t_aux = T3; window min/max of t_in are in shp.t_min/t_max.
	 */
	float t_in, t_amb, t_aux, t_bat, t_pmic;
	/* power */
	struct pmic_status pm;
	/* cellular */
	struct cell_status cell;
	uint8_t leds;
};

/* Push a finished record into the backlog (oldest dropped when full). */
void telemetry_push(const struct tel_rec *r);
/* Number of records waiting to be sent. */
int  telemetry_pending(void);
/* Peek at the oldest / newest pending record (NULL if empty). */
struct tel_rec *telemetry_oldest(void);
struct tel_rec *telemetry_newest(void);
void telemetry_drop_oldest(void);
/* Render a record as the telemetry JSON. Returns length or negative. */
int  telemetry_format(const struct tel_rec *r, char *buf, size_t n);
/* JSON of the newest record (or a minimal one) for `bu pub` / NULL publish. */
int  telemetry_format_latest(char *buf, size_t n);

/* Versor glue (main.c, thread-safe): shipment thresholds from a cfg/cmd JSON
 * (true if changed) and trip control 0 = stop, 1 = start, 2 = report.
 */
bool app_shipment_cfg(const char *json);
void app_trip_cmd(int op);

/* Main-thread reboot request (MQTT "reboot"/"id" commands). */
void app_request_reboot(void);
/* Feed the watchdog from long but bounded waits (MQTT socket pump). Skipped if
 * a monitored thread has stalled, so a hang still ends in a watchdog reset.
 */
void app_watchdog_kick(void);

#endif /* CDC_INCO_BRINGUP_H_ */
```

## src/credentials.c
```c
/*
 * Copyright (c) 2026 Cadenced
 * SPDX-License-Identifier: LicenseRef-Nordic-5-Clause
 *
 * Provision the broker's CA certificate to the modem so `bu pub` can bring up a
 * TLS/MQTT session. Called once from the attach path (cell.c) after the modem
 * is fully initialised AND put into offline mode (CFUN=4) — writing keys during
 * the nrf_modem_lib init hook proved too early here (the AT interface was not
 * ready yet: "CMEE status err -77" -> "Phone failure" -> modem crash). The CA
 * is the same ISRG Root X1 used by the production firmware; it is embedded from
 * src/credentials/ca-cert.pem via generate_inc_file_for_target() (see
 * CMakeLists.txt). Only the CA is provisioned — HiveMQ uses username/password,
 * not client certificates.
 */
#include <modem/modem_key_mgmt.h>
#include <zephyr/logging/log.h>

#include "bringup.h"

LOG_MODULE_REGISTER(credentials, LOG_LEVEL_INF);

static const unsigned char ca_certificate[] = {
#include "ca-cert.pem"
};

int bringup_credentials_provision(void)
{
	int err;

	if (sizeof(ca_certificate) <= 1) {
		LOG_ERR("CA certificate empty — src/credentials/ca-cert.pem missing?");
		return -ENOENT;
	}

	/* Write unconditionally (idempotent overwrite), exactly like the
	 * production firmware. Must run while the modem is offline — this is
	 * called from the NRF_MODEM_LIB_ON_INIT hook, before any LTE attach.
	 */
	err = modem_key_mgmt_write(BROKER_SEC_TAG,
				   MODEM_KEY_MGMT_CRED_TYPE_CA_CHAIN,
				   ca_certificate, sizeof(ca_certificate) - 1);
	if (err) {
		LOG_ERR("modem_key_mgmt_write(CA) failed: %d", err);
		return err;
	}

	LOG_INF("CA certificate provisioned to sec tag %d", BROKER_SEC_TAG);
	return 0;
}
```

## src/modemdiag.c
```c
/*
 * Copyright (c) 2026 Cadenced
 * SPDX-License-Identifier: LicenseRef-Nordic-5-Clause
 *
 * Cellular-only modem diagnostic for the CU board (no TLS, no MQTT, no keys).
 * Answers the basics in isolation — is the SIM readable, does the modem
 * register, how strong is the signal — the way the DK proved out, before TLS.
 *
 * Visibility: the CU board's only console is SEGGER RTT over SWD, but the
 * app-core debug port powers down when the CPU idles, so live RTT is
 * unreliable. Instead, every result is written into the global `g_diag`
 * struct in RAM (with a magic + a `stage` counter). A held J-Link connection
 * can mem-read that struct at any time — even mid-run — to see exactly how far
 * the modem got and the raw AT responses. The final busy-hold keeps the CPU
 * active (never k_sleep) so the debug port stays powered while reading.
 */
#include <zephyr/kernel.h>
#include <zephyr/logging/log.h>
#include <string.h>

#include <modem/lte_lc.h>
#include <nrf_modem_at.h>
#include <nrf_modem.h>

#include "bringup.h"

LOG_MODULE_REGISTER(modemdiag, LOG_LEVEL_INF);

#define DIAG_MAGIC 0xD1A65A1E

/* Read via J-Link: `mem8 <&g_diag> <sizeof>`; address is in zephyr.map. */
struct diag_result {
	volatile uint32_t magic;   /* DIAG_MAGIC once populated            */
	volatile uint32_t stage;   /* increments as each step completes    */
	volatile int32_t  init_err;
	volatile int32_t  init_raw; /* raw nrf_modem_lib_init(): >0=DFU/fw */
	volatile int32_t  attach_err;
	volatile int32_t  rsrp_dbm; /* -140 = invalid                      */
	volatile int32_t  rsrq_raw;
	volatile uint32_t fault_count;  /* # of modem faults seen          */
	volatile uint32_t fault_reason; /* nrf_modem fault reason           */
	volatile uint32_t fault_pc;     /* modem PC at fault                */
	char at_ping[24];           /* bare "AT" — does the modem answer?  */
	char cgmr[48];              /* modem firmware version              */
	char imei[24];
	char iccid[32];
	char imsi[24];
	char cfun[24];
	char sysmode[48];
	char cereg[64];
	char xmonitor[160];
	char cops[48];
	char cgpaddr[64];
};

volatile struct diag_result g_diag;

/* Application-specific modem fault handler (CONFIG_NRF_MODEM_LIB_ON_FAULT_
 * APPLICATION_SPECIFIC). Records the fault so the JLink readout shows whether
 * the modem crashed and why, then leaves it (does not auto-reset).
 */
void nrf_modem_fault_handler(struct nrf_modem_fault_info *fault_info)
{
	g_diag.fault_count++;
	if (fault_info) {
		g_diag.fault_reason = fault_info->reason;
		g_diag.fault_pc = fault_info->program_counter;
	}
	LOG_ERR("MODEM FAULT #%u reason 0x%x PC 0x%x",
		g_diag.fault_count, g_diag.fault_reason, g_diag.fault_pc);
}

/* Run an AT command, store trimmed response into dst[dstlen]. */
static void at_get(const char *cmd, char *dst, size_t dstlen)
{
	char buf[200] = {0};
	int err = nrf_modem_at_cmd(buf, sizeof(buf), "%s", cmd);

	for (int i = (int)strlen(buf) - 1; i >= 0; i--) {
		if (buf[i] == '\r' || buf[i] == '\n' || buf[i] == ' ') {
			buf[i] = '\0';
		} else {
			break;
		}
	}
	if (err) {
		snprintk(dst, dstlen, "ERR%d:%s", err, buf);
	} else {
		strncpy(dst, buf, dstlen - 1);
		dst[dstlen - 1] = '\0';
	}
	LOG_INF("%s -> %s", cmd, dst);
}

void bringup_modem_diag(void)
{
	int err;
	int16_t rxlev, ber, rscp, ecno, rsrq, rsrp;

	memset((void *)&g_diag, 0, sizeof(g_diag));
	g_diag.rsrp_dbm = -140;
	g_diag.stage = 1;

	LOG_INF("========== MODEM DIAGNOSTIC (cellular only) ==========");

	if (bringup_modem_init() != 0) {
		g_diag.init_err = -1;
		g_diag.magic = DIAG_MAGIC;
		LOG_ERR("modem init failed");
		goto hold;
	}
	g_diag.stage = 2;
	g_diag.init_raw = bringup_modem_init_raw;

	/* Does the modem answer AT at all? */
	at_get("AT",             g_diag.at_ping, sizeof(g_diag.at_ping));
	at_get("AT+CGMR",        g_diag.cgmr,    sizeof(g_diag.cgmr));

	/* Pre-attach: modem + SIM health. */
	at_get("AT+CFUN?",       g_diag.cfun,    sizeof(g_diag.cfun));
	at_get("AT+CGSN=1",      g_diag.imei,    sizeof(g_diag.imei));
	at_get("AT%XICCID",      g_diag.iccid,   sizeof(g_diag.iccid));
	at_get("AT+CIMI",        g_diag.imsi,    sizeof(g_diag.imsi));
	at_get("AT%XSYSTEMMODE?",g_diag.sysmode, sizeof(g_diag.sysmode));
	g_diag.stage = 3;
	g_diag.magic = DIAG_MAGIC; /* pre-attach info valid even if attach hangs */

	/* Full publish path: provision CA -> attach -> TLS connect -> publish.
	 * Stage-by-stage results land in g_pub (see mqtt.c) so we can read exactly
	 * where it fails. This blocks through attach + TLS handshake.
	 */
	LOG_INF("Running full MQTT publish (provision+attach+TLS+publish)...");
	g_diag.attach_err = bringup_mqtt_pub(NULL);
	g_diag.stage = 4;

	/* Post: registration, operator, signal, IP (if still attached). */
	at_get("AT+CEREG?",   g_diag.cereg,    sizeof(g_diag.cereg));
	at_get("AT%XMONITOR", g_diag.xmonitor, sizeof(g_diag.xmonitor));
	at_get("AT+COPS?",    g_diag.cops,     sizeof(g_diag.cops));
	at_get("AT+CGPADDR",  g_diag.cgpaddr,  sizeof(g_diag.cgpaddr));

	err = nrf_modem_at_scanf("AT+CESQ",
		"+CESQ: %hd,%hd,%hd,%hd,%hd,%hd",
		&rxlev, &ber, &rscp, &ecno, &rsrq, &rsrp);
	if (err == 6 && rsrp != 255) {
		g_diag.rsrp_dbm = rsrp - 140;
		g_diag.rsrq_raw = rsrq;
	}
	g_diag.stage = 5;
	LOG_INF("========== DIAGNOSTIC DONE (stage=5) ==========");

hold:
	/* Repeat the publish every 30 s so the dashboard shows an ongoing stream
	 * (the first publish already happened above). Each call reuses the existing
	 * attach + provisioned CA and just reconnects + publishes + disconnects.
	 */
	for (uint32_t n = 1;; n++) {
		k_sleep(K_SECONDS(30));
		int r = bringup_mqtt_pub(NULL);
		g_diag.rsrq_raw = (int32_t)n; /* reuse field as publish counter */
		LOG_INF("[repeat pub #%u] result %d", n, r);
	}
}
```
